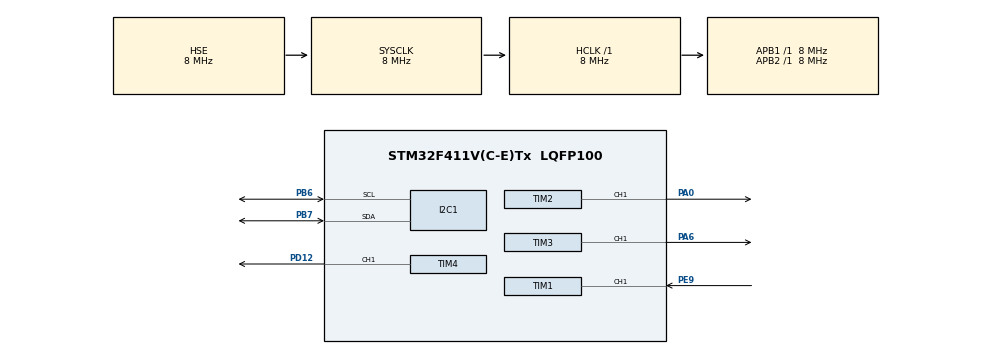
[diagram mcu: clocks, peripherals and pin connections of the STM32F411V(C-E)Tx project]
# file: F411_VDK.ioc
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Mcu.Family=STM32F4
Mcu.Name=STM32F411V(C-E)Tx
Mcu.Package=LQFP100
NVIC.PriorityGroup=NVIC_PRIORITYGROUP_4
NVIC.TIM1_CC_IRQn=true\:0\:0\:false\:false\:true\:true\:true
PA0-WKUP.Signal=S_TIM2_CH1_ETR
PA13.Mode=Serial_Wire
PA13.Signal=SYS_JTMS-SWDIO
PA14.Mode=Serial_Wire
PA14.Signal=SYS_JTCK-SWCLK
PA6.Signal=S_TIM3_CH1
PB6.Mode=I2C
PB6.Signal=I2C1_SCL
PB7.Mode=I2C
PB7.Signal=I2C1_SDA
PD12.Signal=S_TIM4_CH1
PE9.Signal=S_TIM1_CH1
PH0\ -\ OSC_IN.Mode=HSE-External-Oscillator
PH0\ -\ OSC_IN.Signal=RCC_OSC_IN
PH1\ -\ OSC_OUT.Mode=HSE-External-Oscillator
PH1\ -\ OSC_OUT.Signal=RCC_OSC_OUT
ProjectManager.HeapSize=0x200
ProjectManager.StackSize=0x400
ProjectManager.TargetToolchain=STM32CubeIDE
RCC.48MHZClocksFreq_Value=48000000
RCC.AHBFreq_Value=8000000
RCC.APB1Freq_Value=8000000
RCC.APB1TimFreq_Value=8000000
RCC.APB2Freq_Value=8000000
RCC.APB2TimFreq_Value=8000000
RCC.CortexFreq_Value=8000000
RCC.HCLKFreq_Value=8000000
RCC.HSE_VALUE=8000000
RCC.HSI_VALUE=16000000
RCC.LSE_VALUE=32768
RCC.SYSCLKFreq_VALUE=8000000
RCC.SYSCLKSource=RCC_SYSCLKSOURCE_HSE
RCC.VCOOutputFreq_Value=192000000
SH.S_TIM1_CH1.0=TIM1_CH1,Input_Capture1_from_TI1
SH.S_TIM2_CH1_ETR.0=TIM2_CH1,PWM Generation1 CH1
SH.S_TIM3_CH1.0=TIM3_CH1,PWM Generation1 CH1
SH.S_TIM4_CH1.0=TIM4_CH1,PWM Generation1 CH1
TIM1.Channel-Input_Capture1_from_TI1=TIM_CHANNEL_1
TIM1.ICPolarity_CH1=TIM_INPUTCHANNELPOLARITY_FALLING
TIM1.Prescaler=7
TIM2.AutoReloadPreload=TIM_AUTORELOAD_PRELOAD_ENABLE
TIM2.Channel-PWM\ Generation1\ CH1=TIM_CHANNEL_1
TIM2.Period=999
TIM2.Prescaler=7
TIM2.Pulse-PWM\ Generation1\ CH1=500
TIM3.Channel-PWM\ Generation1\ CH1=TIM_CHANNEL_1
TIM3.Period=499
TIM3.Prescaler=7
TIM3.Pulse-PWM\ Generation1\ CH1=249
TIM4.Channel-PWM\ Generation1\ CH1=TIM_CHANNEL_1
TIM4.Period=199
TIM4.Prescaler=7
TIM4.Pulse-PWM\ Generation1\ CH1=100
VP_TIM1_VS_ClockSourceINT.Mode=Internal
VP_TIM2_VS_ClockSourceINT.Mode=Internal
VP_TIM3_VS_ClockSourceINT.Mode=Internal
VP_TIM4_VS_ClockSourceINT.Mode=Internal
board=custom

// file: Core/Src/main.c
/* USER CODE BEGIN Header */
/**
 ******************************************************************************
 * @file           : main.c
 * @brief          : Main program body
 ******************************************************************************
 * @attention
 *
 * <h2><center>&copy; Copyright (c) 2021 STMicroelectronics.
 * All rights reserved.</center></h2>
 *
 * This software component is licensed by ST under BSD 3-Clause license,
 * the "License"; You may not use this file except in compliance with the
 * License. You may obtain a copy of the License at:
 *                        opensource.org/licenses/BSD-3-Clause
 *
 ******************************************************************************
 */
/* USER CODE END Header */
#include "main.h"

/* USER CODE BEGIN Includes */
#include "i2c-lcd.h"
#include "stdio.h"
/* USER CODE END Includes */

I2C_HandleTypeDef hi2c1;

TIM_HandleTypeDef htim1;
TIM_HandleTypeDef htim2;
TIM_HandleTypeDef htim3;
TIM_HandleTypeDef htim4;

/* USER CODE BEGIN PV */
uint16_t GT1=0,GT2=0,tanso=0,chuky=0;// luu bien voi gia tri 16bit
char a[20];
/* USER CODE END PV */

void SystemClock_Config(void);
static void MX_GPIO_Init(void);
static void MX_TIM1_Init(void);
static void MX_TIM2_Init(void);
static void MX_TIM3_Init(void);
static void MX_TIM4_Init(void);
static void MX_I2C1_Init(void);

/* USER CODE BEGIN 0 */
void TIM1_CC_IRQHandler(void)
{
  /* USER CODE BEGIN TIM1_CC_IRQn 0 */
  /* USER CODE END TIM1_CC_IRQn 0 */
  HAL_TIM_IRQHandler(&htim1);
  /* USER CODE BEGIN TIM1_CC_IRQn 1 */
	GT1 = __HAL_TIM_GET_COMPARE(&htim1, TIM_CHANNEL_1); // doc gia tri hien tai vào GT1
	chuky = GT1 - GT2; // Gia tri 2 lan xung xuong ket qua vao chu ky 2 Gia tri chu ky nay la do xung clock 8M qua time 1 chia 8 ra 1M nen don vi o day la us
	GT2 = GT1;         // gan gia tri sau là bang gia tri moi vua doc
	tanso = 1000000 / chuky; // vi chu ky do la microgiay nen lay 1M chia chu ky ra don vi la hz
	// tan so thap nhat ma no co the do la 15hz vì bo dem len chi dem duoc 65535

  /* USER CODE END TIM1_CC_IRQn 1 */
}
/* USER CODE END 0 */

int main(void)
{

  /* MCU Configuration--------------------------------------------------------*/

  /* Reset of all peripherals, Initializes the Flash interface and the Systick. */
  HAL_Init();

  /* Configure the system clock */
  SystemClock_Config();

  /* Initialize all configured peripherals */
  MX_GPIO_Init();
  MX_TIM1_Init();
  MX_TIM2_Init();
  MX_TIM3_Init();
  MX_TIM4_Init();
  MX_I2C1_Init();
  /* USER CODE BEGIN 2 */
  lcd_init();
  HAL_TIM_PWM_Start(&htim2, TIM_CHANNEL_1); // khoi tao xung
  HAL_TIM_PWM_Start(&htim3, TIM_CHANNEL_1);
  HAL_TIM_PWM_Start(&htim4, TIM_CHANNEL_1);
  HAL_TIM_IC_Start_IT(&htim1, TIM_CHANNEL_1); // khoi tao ngat
  // Xoa noi dung tren LCD

  // Bat hien thi man hinh, tat con tro
  /* USER CODE END 2 */

  /* Infinite loop */
	while (1) {

	}
}

void SystemClock_Config(void)
{
  RCC_OscInitTypeDef RCC_OscInitStruct = {0};
  RCC_ClkInitTypeDef RCC_ClkInitStruct = {0};

  /** Configure the main internal regulator output voltage
  */
  __HAL_RCC_PWR_CLK_ENABLE();
  __HAL_PWR_VOLTAGESCALING_CONFIG(PWR_REGULATOR_VOLTAGE_SCALE1);
  /** Initializes the RCC Oscillators according to the specified parameters
  * in the RCC_OscInitTypeDef structure.
  */
  RCC_OscInitStruct.OscillatorType = RCC_OSCILLATORTYPE_HSE;
  RCC_OscInitStruct.HSEState = RCC_HSE_ON;
  RCC_OscInitStruct.PLL.PLLState = RCC_PLL_NONE;
  if (HAL_RCC_OscConfig(&RCC_OscInitStruct) != HAL_OK)
  {
    Error_Handler();
  }
  /** Initializes the CPU, AHB and APB buses clocks
  */
  RCC_ClkInitStruct.ClockType = RCC_CLOCKTYPE_HCLK|RCC_CLOCKTYPE_SYSCLK
                              |RCC_CLOCKTYPE_PCLK1|RCC_CLOCKTYPE_PCLK2;
  RCC_ClkInitStruct.SYSCLKSource = RCC_SYSCLKSOURCE_HSE;
  RCC_ClkInitStruct.AHBCLKDivider = RCC_SYSCLK_DIV1;
  RCC_ClkInitStruct.APB1CLKDivider = RCC_HCLK_DIV1;
  RCC_ClkInitStruct.APB2CLKDivider = RCC_HCLK_DIV1;

  if (HAL_RCC_ClockConfig(&RCC_ClkInitStruct, FLASH_LATENCY_0) != HAL_OK)
  {
    Error_Handler();
  }
}

static void MX_I2C1_Init(void)
{

  hi2c1.Instance = I2C1;
  hi2c1.Init.ClockSpeed = 100000;
  hi2c1.Init.DutyCycle = I2C_DUTYCYCLE_2;
  hi2c1.Init.OwnAddress1 = 0;
  hi2c1.Init.AddressingMode = I2C_ADDRESSINGMODE_7BIT;
  hi2c1.Init.DualAddressMode = I2C_DUALADDRESS_DISABLE;
  hi2c1.Init.OwnAddress2 = 0;
  hi2c1.Init.GeneralCallMode = I2C_GENERALCALL_DISABLE;
  hi2c1.Init.NoStretchMode = I2C_NOSTRETCH_DISABLE;
  if (HAL_I2C_Init(&hi2c1) != HAL_OK)
  {
    Error_Handler();
  }

}

static void MX_TIM1_Init(void)
{

  TIM_ClockConfigTypeDef sClockSourceConfig = {0};
  TIM_MasterConfigTypeDef sMasterConfig = {0};
  TIM_IC_InitTypeDef sConfigIC = {0};

  htim1.Instance = TIM1;
  htim1.Init.Prescaler = 7;
  htim1.Init.CounterMode = TIM_COUNTERMODE_UP;
  htim1.Init.Period = 65535;
  htim1.Init.ClockDivision = TIM_CLOCKDIVISION_DIV1;
  htim1.Init.RepetitionCounter = 0;
  htim1.Init.AutoReloadPreload = TIM_AUTORELOAD_PRELOAD_DISABLE;
  if (HAL_TIM_Base_Init(&htim1) != HAL_OK)
  {
    Error_Handler();
  }
  sClockSourceConfig.ClockSource = TIM_CLOCKSOURCE_INTERNAL;
  if (HAL_TIM_ConfigClockSource(&htim1, &sClockSourceConfig) != HAL_OK)
  {
    Error_Handler();
  }
  if (HAL_TIM_IC_Init(&htim1) != HAL_OK)
  {
    Error_Handler();
  }
  sMasterConfig.MasterOutputTrigger = TIM_TRGO_RESET;
  sMasterConfig.MasterSlaveMode = TIM_MASTERSLAVEMODE_DISABLE;
  if (HAL_TIMEx_MasterConfigSynchronization(&htim1, &sMasterConfig) != HAL_OK)
  {
    Error_Handler();
  }
  sConfigIC.ICPolarity = TIM_INPUTCHANNELPOLARITY_FALLING;
  sConfigIC.ICSelection = TIM_ICSELECTION_DIRECTTI;
  sConfigIC.ICPrescaler = TIM_ICPSC_DIV1;
  sConfigIC.ICFilter = 0;
  if (HAL_TIM_IC_ConfigChannel(&htim1, &sConfigIC, TIM_CHANNEL_1) != HAL_OK)
  {
    Error_Handler();
  }

}

static void MX_TIM2_Init(void)
{

  TIM_ClockConfigTypeDef sClockSourceConfig = {0};
  TIM_MasterConfigTypeDef sMasterConfig = {0};
  TIM_OC_InitTypeDef sConfigOC = {0};

  htim2.Instance = TIM2;
  htim2.Init.Prescaler = 7;
  htim2.Init.CounterMode = TIM_COUNTERMODE_UP;
  htim2.Init.Period = 999;
  htim2.Init.ClockDivision = TIM_CLOCKDIVISION_DIV1;
  htim2.Init.AutoReloadPreload = TIM_AUTORELOAD_PRELOAD_ENABLE;
  if (HAL_TIM_Base_Init(&htim2) != HAL_OK)
  {
    Error_Handler();
  }
  sClockSourceConfig.ClockSource = TIM_CLOCKSOURCE_INTERNAL;
  if (HAL_TIM_ConfigClockSource(&htim2, &sClockSourceConfig) != HAL_OK)
  {
    Error_Handler();
  }
  if (HAL_TIM_PWM_Init(&htim2) != HAL_OK)
  {
    Error_Handler();
  }
  sMasterConfig.MasterOutputTrigger = TIM_TRGO_RESET;
  sMasterConfig.MasterSlaveMode = TIM_MASTERSLAVEMODE_DISABLE;
  if (HAL_TIMEx_MasterConfigSynchronization(&htim2, &sMasterConfig) != HAL_OK)
  {
    Error_Handler();
  }
  sConfigOC.OCMode = TIM_OCMODE_PWM1;
  sConfigOC.Pulse = 500;
  sConfigOC.OCPolarity = TIM_OCPOLARITY_HIGH;
  sConfigOC.OCFastMode = TIM_OCFAST_DISABLE;
  if (HAL_TIM_PWM_ConfigChannel(&htim2, &sConfigOC, TIM_CHANNEL_1) != HAL_OK)
  {
    Error_Handler();
  }
  HAL_TIM_MspPostInit(&htim2);

}

static void MX_TIM3_Init(void)
{

  TIM_ClockConfigTypeDef sClockSourceConfig = {0};
  TIM_MasterConfigTypeDef sMasterConfig = {0};
  TIM_OC_InitTypeDef sConfigOC = {0};

  htim3.Instance = TIM3;
  htim3.Init.Prescaler = 7;
  htim3.Init.CounterMode = TIM_COUNTERMODE_UP;
  htim3.Init.Period = 499;
  htim3.Init.ClockDivision = TIM_CLOCKDIVISION_DIV1;
  htim3.Init.AutoReloadPreload = TIM_AUTORELOAD_PRELOAD_DISABLE;
  if (HAL_TIM_Base_Init(&htim3) != HAL_OK)
  {
    Error_Handler();
  }
  sClockSourceConfig.ClockSource = TIM_CLOCKSOURCE_INTERNAL;
  if (HAL_TIM_ConfigClockSource(&htim3, &sClockSourceConfig) != HAL_OK)
  {
    Error_Handler();
  }
  if (HAL_TIM_PWM_Init(&htim3) != HAL_OK)
  {
    Error_Handler();
  }
  sMasterConfig.MasterOutputTrigger = TIM_TRGO_RESET;
  sMasterConfig.MasterSlaveMode = TIM_MASTERSLAVEMODE_DISABLE;
  if (HAL_TIMEx_MasterConfigSynchronization(&htim3, &sMasterConfig) != HAL_OK)
  {
    Error_Handler();
  }
  sConfigOC.OCMode = TIM_OCMODE_PWM1;
  sConfigOC.Pulse = 249;
  sConfigOC.OCPolarity = TIM_OCPOLARITY_HIGH;
  sConfigOC.OCFastMode = TIM_OCFAST_DISABLE;
  if (HAL_TIM_PWM_ConfigChannel(&htim3, &sConfigOC, TIM_CHANNEL_1) != HAL_OK)
  {
    Error_Handler();
  }
  HAL_TIM_MspPostInit(&htim3);

}

static void MX_TIM4_Init(void)
{

  TIM_ClockConfigTypeDef sClockSourceConfig = {0};
  TIM_MasterConfigTypeDef sMasterConfig = {0};
  TIM_OC_InitTypeDef sConfigOC = {0};

  htim4.Instance = TIM4;
  htim4.Init.Prescaler = 7;
  htim4.Init.CounterMode = TIM_COUNTERMODE_UP;
  htim4.Init.Period = 199;
  htim4.Init.ClockDivision = TIM_CLOCKDIVISION_DIV1;
  htim4.Init.AutoReloadPreload = TIM_AUTORELOAD_PRELOAD_DISABLE;
  if (HAL_TIM_Base_Init(&htim4) != HAL_OK)
  {
    Error_Handler();
  }
  sClockSourceConfig.ClockSource = TIM_CLOCKSOURCE_INTERNAL;
  if (HAL_TIM_ConfigClockSource(&htim4, &sClockSourceConfig) != HAL_OK)
  {
    Error_Handler();
  }
  if (HAL_TIM_PWM_Init(&htim4) != HAL_OK)
  {
    Error_Handler();
  }
  sMasterConfig.MasterOutputTrigger = TIM_TRGO_RESET;
  sMasterConfig.MasterSlaveMode = TIM_MASTERSLAVEMODE_DISABLE;
  if (HAL_TIMEx_MasterConfigSynchronization(&htim4, &sMasterConfig) != HAL_OK)
  {
    Error_Handler();
  }
  sConfigOC.OCMode = TIM_OCMODE_PWM1;
  sConfigOC.Pulse = 100;
  sConfigOC.OCPolarity = TIM_OCPOLARITY_HIGH;
  sConfigOC.OCFastMode = TIM_OCFAST_DISABLE;
  if (HAL_TIM_PWM_ConfigChannel(&htim4, &sConfigOC, TIM_CHANNEL_1) != HAL_OK)
  {
    Error_Handler();
  }
  HAL_TIM_MspPostInit(&htim4);

}

static void MX_GPIO_Init(void)
{

  /* GPIO Ports Clock Enable */
  __HAL_RCC_GPIOH_CLK_ENABLE();
  __HAL_RCC_GPIOA_CLK_ENABLE();
  __HAL_RCC_GPIOE_CLK_ENABLE();
  __HAL_RCC_GPIOD_CLK_ENABLE();
  __HAL_RCC_GPIOB_CLK_ENABLE();

}

void Error_Handler(void)
{
	__disable_irq();
	while (1) {
	}
}
